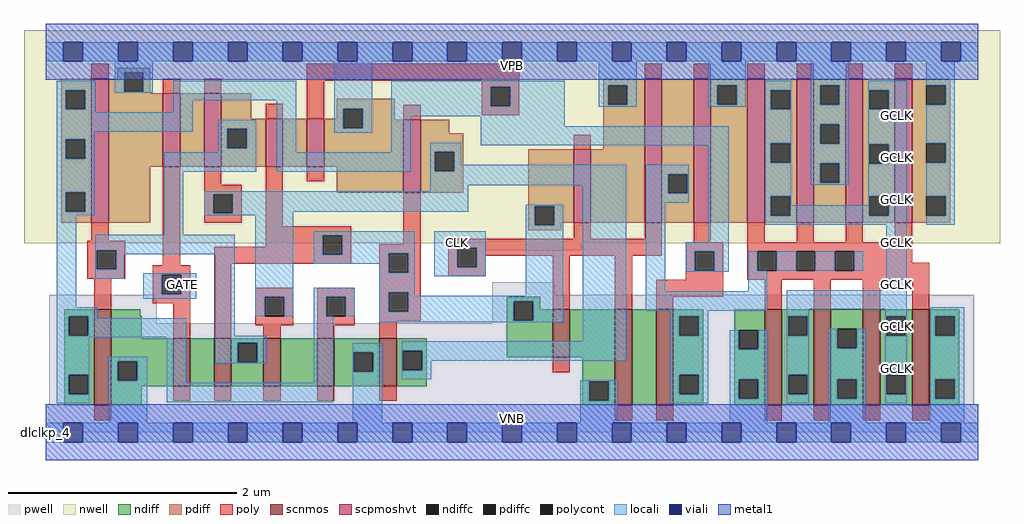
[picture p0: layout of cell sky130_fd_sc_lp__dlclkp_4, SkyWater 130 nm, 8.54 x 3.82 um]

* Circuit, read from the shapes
.subckt sky130_fd_sc_lp__dlclkp_4 CLK GATE VGND VNB VPB VPWR GCLK
XM1 VGND n1 n2 VNB sky130_fd_pr__nfet_01v8 w=0.84 l=0.15
XM2 n3 GATE VGND VNB sky130_fd_pr__nfet_01v8 w=0.42 l=0.15
XM3 n1 n4 n3 VNB sky130_fd_pr__nfet_01v8 w=0.42 l=0.15
XM4 n5 n6 n1 VNB sky130_fd_pr__nfet_01v8 w=0.42 l=0.15
XM5 VGND n2 n5 VNB sky130_fd_pr__nfet_01v8 w=0.42 l=0.15
XM6 n6 n4 VGND VNB sky130_fd_pr__nfet_01v8 w=0.42 l=0.15
XM7 VGND CLK n4 VNB sky130_fd_pr__nfet_01v8 w=0.42 l=0.15
XM8 n7 CLK VGND VNB sky130_fd_pr__nfet_01v8 w=0.84 l=0.15
XM9 n8 n2 n7 VNB sky130_fd_pr__nfet_01v8 w=0.84 l=0.15
XM10 GCLK n8 VGND VNB sky130_fd_pr__nfet_01v8 w=0.84 l=0.15 m=4
XM11 VPWR n1 n2 VPB sky130_fd_pr__pfet_01v8_hvt w=1.26 l=0.15
XM12 n9 GATE VPWR VPB sky130_fd_pr__pfet_01v8_hvt w=0.64 l=0.15
XM13 n1 n6 n9 VPB sky130_fd_pr__pfet_01v8_hvt w=0.64 l=0.15
XM14 n10 n4 n1 VPB sky130_fd_pr__pfet_01v8_hvt w=0.42 l=0.15
XM15 VPWR n2 n10 VPB sky130_fd_pr__pfet_01v8_hvt w=0.42 l=0.15
XM16 n6 n4 VPWR VPB sky130_fd_pr__pfet_01v8_hvt w=0.64 l=0.15
XM17 VPWR CLK n4 VPB sky130_fd_pr__pfet_01v8_hvt w=0.64 l=0.15
XM18 n8 CLK VPWR VPB sky130_fd_pr__pfet_01v8_hvt w=1.26 l=0.15
XM19 VPWR n2 n8 VPB sky130_fd_pr__pfet_01v8_hvt w=1.26 l=0.15
XM20 GCLK n8 VPWR VPB sky130_fd_pr__pfet_01v8_hvt w=1.26 l=0.15 m=4
.ends

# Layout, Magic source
magic
tech sky130A
magscale 1 2
<< nwell >>
rect -38 331 1670 704
rect 770 318 938 331
<< pwell >>
rect 781 241 891 263
rect 6 230 191 241
rect 6 191 194 230
rect 781 191 1625 241
rect 6 49 1625 191
rect 0 0 1632 49
<< scnmos >>
rect 85 47 115 215
rect 223 81 253 165
rect 295 81 325 165
rect 381 81 411 165
rect 475 81 505 165
rect 584 81 614 165
rect 887 131 917 215
rect 996 47 1026 215
rect 1068 47 1098 215
rect 1258 47 1288 215
rect 1344 47 1374 215
rect 1430 47 1460 215
rect 1516 47 1546 215
<< scpmoshvt >>
rect 80 367 110 619
rect 205 465 235 593
rect 277 465 307 593
rect 385 465 415 549
rect 457 465 487 549
rect 626 419 656 547
rect 924 367 954 495
rect 1048 367 1078 619
rect 1134 367 1164 619
rect 1228 367 1258 619
rect 1314 367 1344 619
rect 1400 367 1430 619
rect 1486 367 1516 619
<< ndiff >>
rect 32 203 85 215
rect 32 169 40 203
rect 74 169 85 203
rect 32 101 85 169
rect 32 67 40 101
rect 74 67 85 101
rect 32 47 85 67
rect 115 204 165 215
rect 115 165 168 204
rect 807 229 865 237
rect 807 195 819 229
rect 853 215 865 229
rect 853 195 887 215
rect 115 124 223 165
rect 115 90 126 124
rect 160 90 223 124
rect 115 81 223 90
rect 253 81 295 165
rect 325 157 381 165
rect 325 123 336 157
rect 370 123 381 157
rect 325 81 381 123
rect 411 81 475 165
rect 505 140 584 165
rect 505 106 539 140
rect 573 106 584 140
rect 505 81 584 106
rect 614 143 667 165
rect 614 109 625 143
rect 659 109 667 143
rect 807 131 887 195
rect 917 131 996 215
rect 614 81 667 109
rect 939 89 996 131
rect 115 47 168 81
rect 939 55 951 89
rect 985 55 996 89
rect 939 47 996 55
rect 1026 47 1068 215
rect 1098 203 1151 215
rect 1098 169 1109 203
rect 1143 169 1151 203
rect 1098 101 1151 169
rect 1098 67 1109 101
rect 1143 67 1151 101
rect 1098 47 1151 67
rect 1205 179 1258 215
rect 1205 145 1213 179
rect 1247 145 1258 179
rect 1205 93 1258 145
rect 1205 59 1213 93
rect 1247 59 1258 93
rect 1205 47 1258 59
rect 1288 203 1344 215
rect 1288 169 1299 203
rect 1333 169 1344 203
rect 1288 101 1344 169
rect 1288 67 1299 101
rect 1333 67 1344 101
rect 1288 47 1344 67
rect 1374 181 1430 215
rect 1374 147 1385 181
rect 1419 147 1430 181
rect 1374 93 1430 147
rect 1374 59 1385 93
rect 1419 59 1430 93
rect 1374 47 1430 59
rect 1460 203 1516 215
rect 1460 169 1471 203
rect 1505 169 1516 203
rect 1460 101 1516 169
rect 1460 67 1471 101
rect 1505 67 1516 101
rect 1460 47 1516 67
rect 1546 203 1599 215
rect 1546 169 1557 203
rect 1591 169 1599 203
rect 1546 93 1599 169
rect 1546 59 1557 93
rect 1591 59 1599 93
rect 1546 47 1599 59
<< pdiff >>
rect 125 630 183 638
rect 125 619 137 630
rect 27 599 80 619
rect 27 565 35 599
rect 69 565 80 599
rect 27 513 80 565
rect 27 479 35 513
rect 69 479 80 513
rect 27 420 80 479
rect 27 386 35 420
rect 69 386 80 420
rect 27 367 80 386
rect 110 596 137 619
rect 171 596 183 630
rect 110 593 183 596
rect 110 465 205 593
rect 235 465 277 593
rect 307 549 360 593
rect 509 566 611 584
rect 509 549 521 566
rect 307 531 385 549
rect 307 497 318 531
rect 352 497 385 531
rect 307 465 385 497
rect 415 465 457 549
rect 487 532 521 549
rect 555 547 611 566
rect 976 607 1048 619
rect 976 573 984 607
rect 1018 573 1048 607
rect 555 532 626 547
rect 487 465 626 532
rect 110 367 183 465
rect 509 419 626 465
rect 656 523 706 547
rect 656 491 731 523
rect 976 495 1048 573
rect 656 457 681 491
rect 715 457 731 491
rect 656 419 731 457
rect 844 396 924 495
rect 844 362 856 396
rect 890 367 924 396
rect 954 367 1048 495
rect 1078 452 1134 619
rect 1078 418 1089 452
rect 1123 418 1134 452
rect 1078 367 1134 418
rect 1164 607 1228 619
rect 1164 573 1175 607
rect 1209 573 1228 607
rect 1164 367 1228 573
rect 1258 599 1314 619
rect 1258 565 1269 599
rect 1303 565 1314 599
rect 1258 506 1314 565
rect 1258 472 1269 506
rect 1303 472 1314 506
rect 1258 413 1314 472
rect 1258 379 1269 413
rect 1303 379 1314 413
rect 1258 367 1314 379
rect 1344 607 1400 619
rect 1344 573 1355 607
rect 1389 573 1400 607
rect 1344 539 1400 573
rect 1344 505 1355 539
rect 1389 505 1400 539
rect 1344 471 1400 505
rect 1344 437 1355 471
rect 1389 437 1400 471
rect 1344 367 1400 437
rect 1430 599 1486 619
rect 1430 565 1441 599
rect 1475 565 1486 599
rect 1430 504 1486 565
rect 1430 470 1441 504
rect 1475 470 1486 504
rect 1430 413 1486 470
rect 1430 379 1441 413
rect 1475 379 1486 413
rect 1430 367 1486 379
rect 1516 607 1583 619
rect 1516 573 1541 607
rect 1575 573 1583 607
rect 1516 506 1583 573
rect 1516 472 1541 506
rect 1575 472 1583 506
rect 1516 413 1583 472
rect 1516 379 1541 413
rect 1575 379 1583 413
rect 1516 367 1583 379
rect 890 362 902 367
rect 844 354 902 362
<< ndiffc >>
rect 40 169 74 203
rect 40 67 74 101
rect 819 195 853 229
rect 126 90 160 124
rect 336 123 370 157
rect 539 106 573 140
rect 625 109 659 143
rect 951 55 985 89
rect 1109 169 1143 203
rect 1109 67 1143 101
rect 1213 145 1247 179
rect 1213 59 1247 93
rect 1299 169 1333 203
rect 1299 67 1333 101
rect 1385 147 1419 181
rect 1385 59 1419 93
rect 1471 169 1505 203
rect 1471 67 1505 101
rect 1557 169 1591 203
rect 1557 59 1591 93
<< pdiffc >>
rect 35 565 69 599
rect 35 479 69 513
rect 35 386 69 420
rect 137 596 171 630
rect 318 497 352 531
rect 521 532 555 566
rect 984 573 1018 607
rect 681 457 715 491
rect 856 362 890 396
rect 1089 418 1123 452
rect 1175 573 1209 607
rect 1269 565 1303 599
rect 1269 472 1303 506
rect 1269 379 1303 413
rect 1355 573 1389 607
rect 1355 505 1389 539
rect 1355 437 1389 471
rect 1441 565 1475 599
rect 1441 470 1475 504
rect 1441 379 1475 413
rect 1541 573 1575 607
rect 1541 472 1575 506
rect 1541 379 1575 413
<< poly >>
rect 80 619 110 645
rect 205 593 235 619
rect 277 593 307 619
rect 457 615 829 645
rect 1048 619 1078 645
rect 1134 619 1164 645
rect 1228 619 1258 645
rect 1314 619 1344 645
rect 1400 619 1430 645
rect 1486 619 1516 645
rect 385 549 415 575
rect 457 549 487 615
rect 763 605 829 615
rect 626 547 656 573
rect 763 571 779 605
rect 813 571 829 605
rect 763 555 829 571
rect 80 335 110 367
rect 73 319 139 335
rect 73 285 89 319
rect 123 285 139 319
rect 205 292 235 465
rect 277 433 307 465
rect 277 417 343 433
rect 277 383 293 417
rect 327 383 343 417
rect 277 367 343 383
rect 385 361 415 465
rect 457 439 487 465
rect 924 495 954 521
rect 385 345 535 361
rect 385 325 485 345
rect 295 311 485 325
rect 519 311 535 345
rect 626 329 656 419
rect 924 339 954 367
rect 1048 339 1078 367
rect 295 295 535 311
rect 584 313 656 329
rect 73 269 139 285
rect 187 276 253 292
rect 85 215 115 269
rect 187 242 203 276
rect 237 242 253 276
rect 187 226 253 242
rect 223 165 253 226
rect 295 165 325 295
rect 584 279 600 313
rect 634 279 656 313
rect 367 237 433 253
rect 367 203 383 237
rect 417 203 433 237
rect 367 187 433 203
rect 475 237 541 253
rect 475 203 491 237
rect 525 203 541 237
rect 475 187 541 203
rect 584 245 656 279
rect 704 323 1078 339
rect 1134 333 1164 367
rect 1228 333 1258 367
rect 1314 333 1344 367
rect 1400 333 1430 367
rect 1486 333 1516 367
rect 704 289 720 323
rect 754 309 1078 323
rect 1120 317 1186 333
rect 754 289 770 309
rect 704 273 770 289
rect 584 211 600 245
rect 634 211 656 245
rect 584 195 656 211
rect 887 215 917 309
rect 996 215 1026 309
rect 1120 283 1136 317
rect 1170 283 1186 317
rect 1120 267 1186 283
rect 1228 317 1516 333
rect 1228 283 1245 317
rect 1279 283 1313 317
rect 1347 283 1381 317
rect 1415 297 1516 317
rect 1415 283 1546 297
rect 1228 267 1546 283
rect 1068 237 1186 267
rect 1068 215 1098 237
rect 1258 215 1288 267
rect 1344 215 1374 267
rect 1430 215 1460 267
rect 1516 215 1546 267
rect 381 165 411 187
rect 475 165 505 187
rect 584 165 614 195
rect 887 105 917 131
rect 223 55 253 81
rect 295 55 325 81
rect 381 55 411 81
rect 475 55 505 81
rect 584 55 614 81
rect 85 21 115 47
rect 996 21 1026 47
rect 1068 21 1098 47
rect 1258 21 1288 47
rect 1344 21 1374 47
rect 1430 21 1460 47
rect 1516 21 1546 47
<< polycont >>
rect 779 571 813 605
rect 89 285 123 319
rect 293 383 327 417
rect 485 311 519 345
rect 203 242 237 276
rect 600 279 634 313
rect 383 203 417 237
rect 491 203 525 237
rect 720 289 754 323
rect 600 211 634 245
rect 1136 283 1170 317
rect 1245 283 1279 317
rect 1313 283 1347 317
rect 1381 283 1415 317
<< locali >>
rect 0 649 31 683
rect 65 649 127 683
rect 161 649 223 683
rect 257 649 319 683
rect 353 649 415 683
rect 449 649 511 683
rect 545 649 607 683
rect 641 649 703 683
rect 737 649 799 683
rect 833 649 895 683
rect 929 649 991 683
rect 1025 649 1087 683
rect 1121 649 1183 683
rect 1217 649 1279 683
rect 1313 649 1375 683
rect 1409 649 1471 683
rect 1505 649 1567 683
rect 1601 649 1632 683
rect 121 630 187 649
rect 19 599 87 615
rect 19 565 35 599
rect 69 565 87 599
rect 121 596 137 630
rect 171 596 187 630
rect 121 594 187 596
rect 19 560 87 565
rect 223 581 438 615
rect 223 560 257 581
rect 19 526 257 560
rect 302 531 368 547
rect 19 513 85 526
rect 19 479 35 513
rect 69 479 85 513
rect 302 497 318 531
rect 352 497 368 531
rect 302 490 368 497
rect 19 420 85 479
rect 19 386 35 420
rect 69 386 85 420
rect 19 380 85 386
rect 207 456 368 490
rect 404 490 438 581
rect 505 566 571 649
rect 505 532 521 566
rect 555 532 571 566
rect 505 524 571 532
rect 605 605 908 615
rect 605 571 779 605
rect 813 571 908 605
rect 605 553 908 571
rect 968 607 1034 649
rect 968 573 984 607
rect 1018 573 1034 607
rect 968 570 1034 573
rect 1159 607 1225 649
rect 1159 573 1175 607
rect 1209 573 1225 607
rect 1159 570 1225 573
rect 1259 599 1305 615
rect 605 490 639 553
rect 761 536 908 553
rect 1259 565 1269 599
rect 1303 565 1305 599
rect 404 456 639 490
rect 673 491 727 507
rect 761 502 1195 536
rect 673 457 681 491
rect 715 468 727 491
rect 715 457 1016 468
rect 19 219 53 380
rect 207 346 241 456
rect 673 432 1016 457
rect 673 422 739 432
rect 277 417 739 422
rect 277 383 293 417
rect 327 386 739 417
rect 840 396 906 398
rect 327 383 433 386
rect 277 380 433 383
rect 87 319 331 346
rect 87 285 89 319
rect 123 312 331 319
rect 123 285 137 312
rect 87 269 137 285
rect 171 276 263 278
rect 171 242 203 276
rect 237 242 263 276
rect 171 234 263 242
rect 19 203 90 219
rect 19 169 40 203
rect 74 200 90 203
rect 74 169 246 200
rect 19 166 246 169
rect 19 101 76 166
rect 19 67 40 101
rect 74 67 76 101
rect 19 51 76 67
rect 110 124 178 132
rect 110 90 126 124
rect 160 90 178 124
rect 110 17 178 90
rect 212 87 246 166
rect 297 169 331 312
rect 367 237 433 380
rect 840 362 856 396
rect 890 362 906 396
rect 469 345 646 352
rect 469 311 485 345
rect 519 313 646 345
rect 519 311 600 313
rect 469 295 600 311
rect 584 279 600 295
rect 634 279 646 313
rect 367 203 383 237
rect 417 203 433 237
rect 469 237 541 253
rect 469 203 491 237
rect 525 203 541 237
rect 584 245 646 279
rect 680 323 770 352
rect 680 289 720 323
rect 754 289 770 323
rect 680 273 770 289
rect 584 211 600 245
rect 634 239 646 245
rect 840 239 906 362
rect 634 229 906 239
rect 634 211 819 229
rect 297 157 386 169
rect 297 123 336 157
rect 370 123 386 157
rect 297 121 386 123
rect 469 87 503 203
rect 584 195 819 211
rect 853 195 906 229
rect 584 193 906 195
rect 940 159 1016 432
rect 1050 452 1125 468
rect 1050 418 1089 452
rect 1123 418 1125 452
rect 1050 402 1125 418
rect 1050 247 1084 402
rect 1159 333 1195 502
rect 1259 506 1305 565
rect 1259 472 1269 506
rect 1303 472 1305 506
rect 1259 413 1305 472
rect 1339 607 1405 649
rect 1339 573 1355 607
rect 1389 573 1405 607
rect 1339 539 1405 573
rect 1339 505 1355 539
rect 1389 505 1405 539
rect 1339 471 1405 505
rect 1339 437 1355 471
rect 1389 437 1405 471
rect 1339 433 1405 437
rect 1439 599 1507 615
rect 1439 565 1441 599
rect 1475 565 1507 599
rect 1439 504 1507 565
rect 1439 470 1441 504
rect 1475 470 1507 504
rect 1259 379 1269 413
rect 1303 397 1305 413
rect 1439 413 1507 470
rect 1439 397 1441 413
rect 1303 379 1441 397
rect 1475 379 1507 413
rect 1259 363 1507 379
rect 1541 607 1591 649
rect 1575 573 1591 607
rect 1541 506 1591 573
rect 1575 472 1591 506
rect 1541 413 1591 472
rect 1575 379 1591 413
rect 1541 363 1591 379
rect 1120 317 1195 333
rect 1120 283 1136 317
rect 1170 283 1195 317
rect 1120 281 1195 283
rect 1229 283 1245 317
rect 1279 283 1313 317
rect 1347 283 1381 317
rect 1415 283 1431 317
rect 1229 247 1263 283
rect 1471 249 1507 363
rect 1050 213 1263 247
rect 1297 215 1507 249
rect 212 53 503 87
rect 537 140 589 156
rect 537 106 539 140
rect 573 106 589 140
rect 537 17 589 106
rect 623 143 1016 159
rect 623 109 625 143
rect 659 125 1016 143
rect 1093 203 1159 213
rect 1093 169 1109 203
rect 1143 169 1159 203
rect 1297 203 1335 215
rect 659 109 675 125
rect 623 93 675 109
rect 1093 101 1159 169
rect 935 89 1001 91
rect 935 55 951 89
rect 985 55 1001 89
rect 935 17 1001 55
rect 1093 67 1109 101
rect 1143 67 1159 101
rect 1093 51 1159 67
rect 1197 145 1213 179
rect 1247 145 1263 179
rect 1197 93 1263 145
rect 1197 59 1213 93
rect 1247 59 1263 93
rect 1197 17 1263 59
rect 1297 169 1299 203
rect 1333 169 1335 203
rect 1469 203 1507 215
rect 1297 101 1335 169
rect 1297 67 1299 101
rect 1333 67 1335 101
rect 1297 51 1335 67
rect 1369 147 1385 181
rect 1419 147 1435 181
rect 1369 93 1435 147
rect 1369 59 1385 93
rect 1419 59 1435 93
rect 1369 17 1435 59
rect 1469 169 1471 203
rect 1505 169 1507 203
rect 1469 101 1507 169
rect 1469 67 1471 101
rect 1505 67 1507 101
rect 1469 51 1507 67
rect 1548 203 1607 219
rect 1548 169 1557 203
rect 1591 169 1607 203
rect 1548 93 1607 169
rect 1548 59 1557 93
rect 1591 59 1607 93
rect 1548 17 1607 59
rect 0 -17 31 17
rect 65 -17 127 17
rect 161 -17 223 17
rect 257 -17 319 17
rect 353 -17 415 17
rect 449 -17 511 17
rect 545 -17 607 17
rect 641 -17 703 17
rect 737 -17 799 17
rect 833 -17 895 17
rect 929 -17 991 17
rect 1025 -17 1087 17
rect 1121 -17 1183 17
rect 1217 -17 1279 17
rect 1313 -17 1375 17
rect 1409 -17 1471 17
rect 1505 -17 1567 17
rect 1601 -17 1632 17
<< viali >>
rect 31 649 65 683
rect 127 649 161 683
rect 223 649 257 683
rect 319 649 353 683
rect 415 649 449 683
rect 511 649 545 683
rect 607 649 641 683
rect 703 649 737 683
rect 799 649 833 683
rect 895 649 929 683
rect 991 649 1025 683
rect 1087 649 1121 683
rect 1183 649 1217 683
rect 1279 649 1313 683
rect 1375 649 1409 683
rect 1471 649 1505 683
rect 1567 649 1601 683
rect 31 -17 65 17
rect 127 -17 161 17
rect 223 -17 257 17
rect 319 -17 353 17
rect 415 -17 449 17
rect 511 -17 545 17
rect 607 -17 641 17
rect 703 -17 737 17
rect 799 -17 833 17
rect 895 -17 929 17
rect 991 -17 1025 17
rect 1087 -17 1121 17
rect 1183 -17 1217 17
rect 1279 -17 1313 17
rect 1375 -17 1409 17
rect 1471 -17 1505 17
rect 1567 -17 1601 17
<< metal1 >>
rect 0 683 1632 715
rect 0 649 31 683
rect 65 649 127 683
rect 161 649 223 683
rect 257 649 319 683
rect 353 649 415 683
rect 449 649 511 683
rect 545 649 607 683
rect 641 649 703 683
rect 737 649 799 683
rect 833 649 895 683
rect 929 649 991 683
rect 1025 649 1087 683
rect 1121 649 1183 683
rect 1217 649 1279 683
rect 1313 649 1375 683
rect 1409 649 1471 683
rect 1505 649 1567 683
rect 1601 649 1632 683
rect 0 617 1632 649
rect 0 17 1632 49
rect 0 -17 31 17
rect 65 -17 127 17
rect 161 -17 223 17
rect 257 -17 319 17
rect 353 -17 415 17
rect 449 -17 511 17
rect 545 -17 607 17
rect 641 -17 703 17
rect 737 -17 799 17
rect 833 -17 895 17
rect 929 -17 991 17
rect 1025 -17 1087 17
rect 1121 -17 1183 17
rect 1217 -17 1279 17
rect 1313 -17 1375 17
rect 1409 -17 1471 17
rect 1505 -17 1567 17
rect 1601 -17 1632 17
rect 0 -49 1632 -17
<< labels >>
flabel pwell s 0 0 1632 49 0 FreeSans 200 0 0 0 VNB
port 4 nsew ground bidirectional
flabel nwell s 0 617 1632 666 0 FreeSans 200 0 0 0 VPB
port 5 nsew power bidirectional
rlabel comment s 0 0 0 0 4 dlclkp_4
flabel metal1 s 0 617 1632 666 0 FreeSans 340 0 0 0 VPWR
port 6 nsew power bidirectional
flabel metal1 s 0 0 1632 49 0 FreeSans 340 0 0 0 VGND
port 3 nsew ground bidirectional
flabel locali s 1471 94 1505 128 0 FreeSans 340 0 0 0 GCLK
port 7 nsew signal output
flabel locali s 1471 168 1505 202 0 FreeSans 340 0 0 0 GCLK
port 7 nsew signal output
flabel locali s 1471 242 1505 276 0 FreeSans 340 0 0 0 GCLK
port 7 nsew signal output
flabel locali s 1471 316 1505 350 0 FreeSans 340 0 0 0 GCLK
port 7 nsew signal output
flabel locali s 1471 390 1505 424 0 FreeSans 340 0 0 0 GCLK
port 7 nsew signal output
flabel locali s 1471 464 1505 498 0 FreeSans 340 0 0 0 GCLK
port 7 nsew signal output
flabel locali s 1471 538 1505 572 0 FreeSans 340 0 0 0 GCLK
port 7 nsew signal output
flabel locali s 703 316 737 350 0 FreeSans 340 0 0 0 CLK
port 1 nsew clock input
flabel locali s 223 242 257 276 0 FreeSans 340 0 0 0 GATE
port 2 nsew signal input
<< properties >>
string LEFsite unit
string LEFclass CORE
string FIXED_BBOX 0 0 1632 666
string GDS_FILE $PDKPATH/libs.ref/sky130_fd_sc_lp/gds/sky130_fd_sc_lp.gds
string LEFsymmetry X Y R90
string GDS_END 3525824
string GDS_START 3513298
<< end >>
